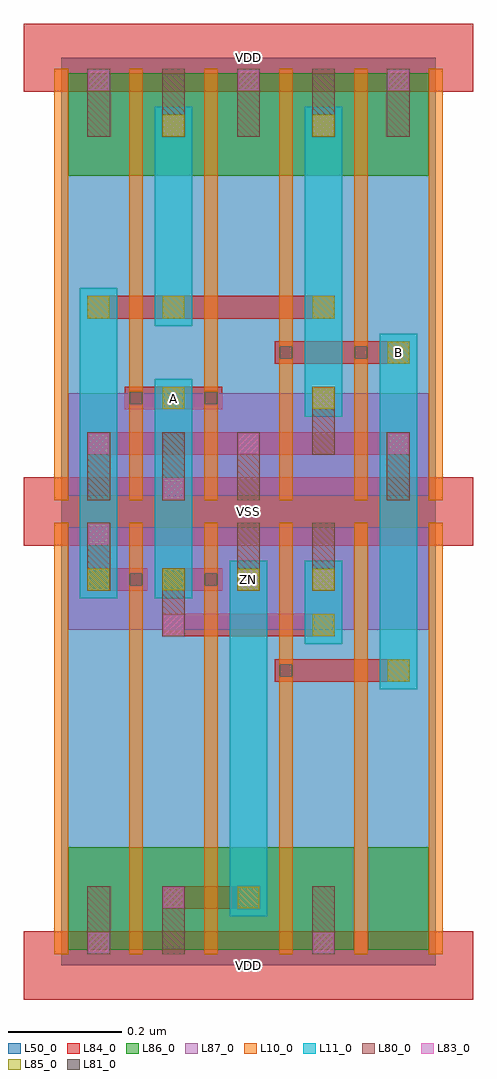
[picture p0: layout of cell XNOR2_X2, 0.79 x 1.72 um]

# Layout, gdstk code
import gdstk
lib = gdstk.Library(unit=1e-6, precision=1e-09)
def R(c, l, rs):  # rectangles x0, y0, x1, y1
    for r in rs: c.add(gdstk.rectangle(r[:2], r[2:], *l))
def A(c, l, x, y, w, h, nx, ny, dx, dy):  # array of equal rectangles
    R(c, l, [(x+i*dx, y+j*dy, x+i*dx+w, y+j*dy+h) for i in range(nx) for j in range(ny)])
L10_0 = (10, 0)
L11_0 = (11, 0)
L50_0 = (50, 0)
L80_0 = (80, 0)
L81_0 = (81, 0)
L83_0 = (83, 0)
L84_0 = (84, 0)
L85_0 = (85, 0)
L86_0 = (86, 0)
L87_0 = (87, 0)

xnor2_x2 = lib.new_cell('XNOR2_X2')
A(xnor2_x2, L10_0, -0.012, 0.02, 0.024, 0.76, 6, 2, 0.132, 0.8)
R(xnor2_x2, L11_0, [(0.297,0.087,0.363,0.713), (0.561,0.487,0.627,1.113), (0.429,0.567,0.495,0.713), (0.033,0.647,0.099,1.193), (0.165,0.647,0.231,1.033), (0.429,0.967,0.495,1.513), (0.165,1.127,0.231,1.513)])
R(xnor2_x2, L50_0, [(0,0,0.66,1.6)])
A(xnor2_x2, L80_0, 0.046, 0.82, 0.04, 0.12, 3, 1, 0.132, 0)
A(xnor2_x2, L80_0, 0.046, 1.46, 0.04, 0.12, 5, 1, 0.132, 0)
R(xnor2_x2, L80_0, [(0.046,0.02,0.086,0.14), (0.178,0.02,0.218,0.14), (0.442,0.02,0.482,0.14), (0.178,0.58,0.218,0.7), (0.046,0.66,0.086,0.78), (0.31,0.66,0.35,0.78), (0.442,0.66,0.482,0.78), (0.574,0.82,0.614,0.94), (0.442,0.9,0.482,1.02)])
R(xnor2_x2, L81_0, [(0.385,0.509,0.407,0.531), (0.121,0.669,0.143,0.691), (0.253,0.669,0.275,0.691), (0.121,0.989,0.143,1.011), (0.253,0.989,0.275,1.011), (0.385,1.069,0.407,1.091), (0.517,1.069,0.539,1.091)])
A(xnor2_x2, L83_0, 0.048, 0.902, 0.036, 0.036, 3, 2, 0.264, 0.64)
R(xnor2_x2, L83_0, [(0.048,0.022,0.084,0.058), (0.444,0.022,0.48,0.058), (0.18,0.102,0.216,0.138), (0.18,0.582,0.216,0.618), (0.312,0.662,0.348,0.698), (0.444,0.662,0.48,0.698), (0.048,0.742,0.084,0.778), (0.18,0.822,0.216,0.858), (0.444,0.982,0.48,1.018), (0.18,1.462,0.216,1.498), (0.444,1.462,0.48,1.498)])
A(xnor2_x2, L84_0, -0.066, -0.06, 0.792, 0.12, 1, 3, 0, 0.8)
R(xnor2_x2, L84_0, [(0.178,0.1,0.35,0.14), (0.376,0.5,0.614,0.54), (0.178,0.58,0.482,0.62), (0.046,0.66,0.152,0.7), (0.178,0.66,0.284,0.7), (0.31,0.66,0.35,0.7), (0.442,0.66,0.482,0.7), (0.046,0.9,0.614,0.94), (0.112,0.98,0.284,1.02), (0.442,0.98,0.482,1.02), (0.376,1.06,0.614,1.1), (0.046,1.14,0.482,1.18), (0.178,1.46,0.218,1.5), (0.442,1.46,0.482,1.5)])
A(xnor2_x2, L85_0, 0.047, 0.661, 0.038, 0.038, 4, 1, 0.132, 0)
R(xnor2_x2, L85_0, [(0.311,0.101,0.349,0.139), (0.575,0.501,0.613,0.539), (0.443,0.581,0.481,0.619), (0.179,0.981,0.217,1.019), (0.443,0.981,0.481,1.019), (0.575,1.061,0.613,1.099), (0.047,1.141,0.085,1.179), (0.179,1.141,0.217,1.179), (0.443,1.141,0.481,1.179), (0.179,1.461,0.217,1.499), (0.443,1.461,0.481,1.499)])
R(xnor2_x2, L86_0, [(0.012,0.028,0.516,0.208), (0.54,0.028,0.648,0.208), (0.012,1.392,0.648,1.572)])
R(xnor2_x2, L87_0, [(0.012,0.592,0.516,0.772), (0.54,0.592,0.648,0.772), (0.012,0.828,0.648,1.008)])
xnor2_x2.add(gdstk.Label('VDD', (0.33,1.6), layer=88, texttype=0))
xnor2_x2.add(gdstk.Label('VDD', (0.33,0), layer=88, texttype=0))
xnor2_x2.add(gdstk.Label('VSS', (0.33,0.8), layer=88, texttype=0))
xnor2_x2.add(gdstk.Label('A', (0.198,1), layer=31, texttype=0))
xnor2_x2.add(gdstk.Label('ZN', (0.33,0.68), layer=31, texttype=0))
xnor2_x2.add(gdstk.Label('B', (0.594,1.08), layer=31, texttype=0))

lib.write_gds('XNOR2_X2.gds')
